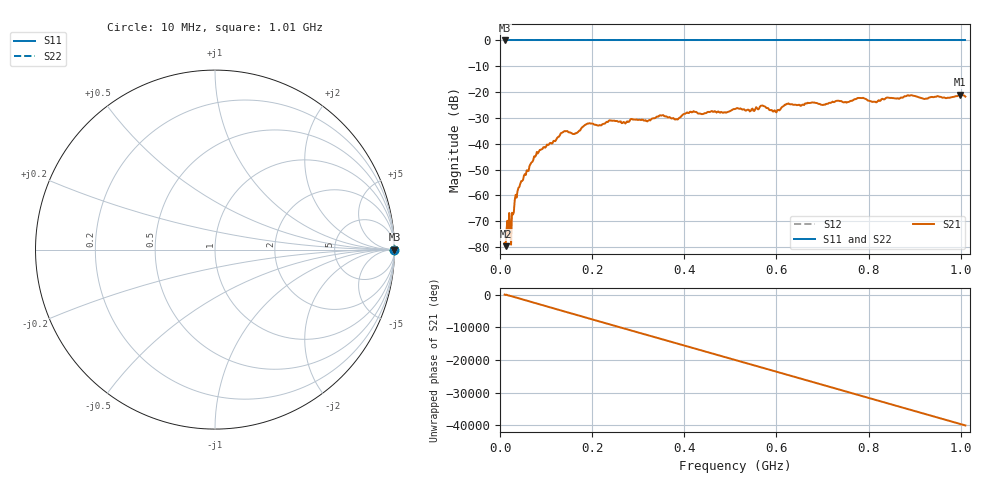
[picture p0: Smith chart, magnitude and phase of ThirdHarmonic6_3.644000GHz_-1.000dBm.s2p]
! 8/17/2025 12:15:12 PM
! C:\ANRITSUVNA\TEMP\TEMP.S2P
! CHANNEL.1
! TR.MEASUREMENT
! RAW.DATA
! RF.CORRECTION.OFF
! AVERAGING.OFF
! IF.BANDWIDTH: 5KHZ
! SWEEPTYPE:  FREQ.SWEEP(Linear)
! Reference Plane Port Info
! PORT:  PORT1  PORT2
! DISTANCE:  0  m  0  m
! TIME:  0  s  0  s
! PHASE.OFFSET:  0  deg.  0  deg.
! LOSS:  0  dB  0  dB
! REF.LOSS:  0  dB  0  dB
! REF.FREQ:  0  Hz  0  Hz
! Power Info
! POWER:  -20  dBm  -20  dBm
! EFF.POWER:  -20  dBm  -20  dBm
! SOURCE.ATTEN:  0  dB  0  dB
! TEST.ATTEN:  0  dB  0  dB
# GHZ S RI R 50.0
! FREQ.GHZ  S11RE  S11IM  S21RE  S21IM  S12RE  S12IM  S22RE  S22IM
!; PortSelection: Port_12
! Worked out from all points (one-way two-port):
!   501 points, 10 MHz to 1.01 GHz, reference 50 ohm
!   highest |S21| = -20.97 dB at 998 MHz (marker M1); lowest = -79.6 dB at 12 MHz (marker M2)
!   lowest |S11| = 0.0 dB at 10 MHz (marker M3)
!   |S11| at or under -10 dB: nowhere
!   |S22| runs from 0.0 to 0.0 dB; largest |S21 - S12| = 1.1
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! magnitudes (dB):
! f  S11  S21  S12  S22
! 10 MHz  0.0  -78.5  0.0  0.0
! 12 MHz  0.0  -79.6  0.0  0.0
! 18 MHz  0.0  -75.7  0.0  0.0
! 20 MHz  0.0  -66.8  0.0  0.0
! 26 MHz  0.0  -66.7  0.0  0.0
! 30 MHz  0.0  -66.5  0.0  0.0
! 42 MHz  0.0  -56.7  0.0  0.0
! 78 MHz  0.0  -44.5  0.0  0.0
! 136 MHz  0.0  -35.6  0.0  0.0
! 162 MHz  0.0  -36.2  0.0  0.0
! 178 MHz  0.0  -33.7  0.0  0.0
! 344 MHz  0.0  -29.5  0.0  0.0
! 382 MHz  0.0  -30.4  0.0  0.0
! 416 MHz  0.0  -27.8  0.0  0.0
! 510 MHz  0.0  -26.6  0.0  0.0
! 570 MHz  0.0  -25.2  0.0  0.0
! 596 MHz  0.0  -27.0  0.0  0.0
! 622 MHz  0.0  -24.6  0.0  0.0
! 678 MHz  0.0  -24.0  0.0  0.0
! 844 MHz  0.0  -22.2  0.0  0.0
! 998 MHz  0.0  -21.0  0.0  0.0
! 1.01 GHz  0.0  -21.7  0.0  0.0
